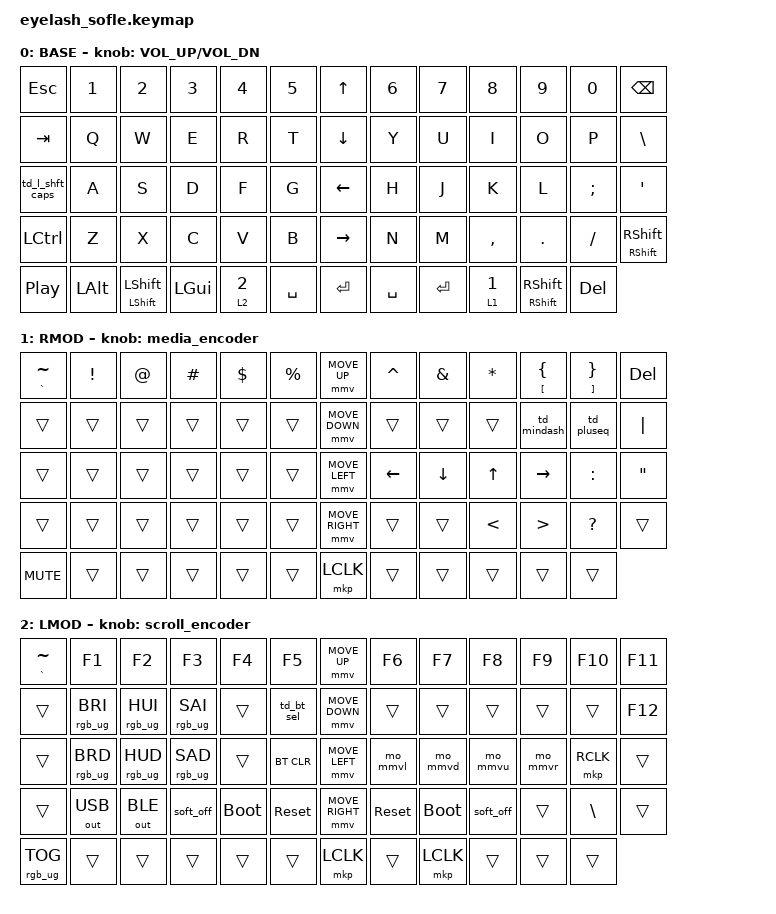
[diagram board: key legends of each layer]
#define ZMK_POINTING_DEFAULT_MOVE_VAL 300 // 600
#define ZMK_POINTING_DEFAULT_SCRL_VAL 35    // 10

#include <input/processors.dtsi>
#include <zephyr/dt-bindings/input/input-event-codes.h>
#include <behaviors.dtsi>
#include <dt-bindings/zmk/bt.h>
#include <dt-bindings/zmk/keys.h>
#include <dt-bindings/zmk/outputs.h>
#include <dt-bindings/zmk/pointing.h>
#include <dt-bindings/zmk/rgb.h>

/ {
    zip_scroll_scaler: zip_scroll_scaler {
        compatible = "zmk,input-processor-scaler";
        #input-processor-cells = <2>;
        type = <INPUT_EV_REL>;
        codes = <INPUT_REL_WHEEL INPUT_REL_HWHEEL>;
        track-remainders;
    };
};

&mmv_input_listener { input-processors = <&zip_xy_scaler 2 1>; };

&msc_input_listener { input-processors = <&zip_scroll_scaler 2 1>; };

&msc {
    acceleration-exponent = <0>;      // 0
    time-to-max-speed-ms = <0>;       // 300
    delay-ms = <0>;                   // 0
};

&mmv {
    time-to-max-speed-ms = <250>;
    acceleration-exponent = <1>;
};

/ {
    scroll_encoder: scroll_encoder {
        compatible = "zmk,behavior-sensor-rotate";
        #sensor-binding-cells = <0>;
        bindings = <&msc SCRL_DOWN>, <&msc SCRL_UP>;

        tap-ms = <30>;
    };

    media_encoder: media_encoder {
        compatible = "zmk,behavior-sensor-rotate";
        #sensor-binding-cells = <0>;
        bindings = <&kp C_NEXT>, <&kp C_PREV>;
    };

    macros {
        shift_MB3: shift_MB3 {
            compatible = "zmk,behavior-macro";
            #binding-cells = <0>;
            bindings =
                <&macro_press>,
                <&kp LEFT_SHIFT>,
                <&macro_press>,
                <&mkp MB3>,
                <&macro_pause_for_release>,
                <&macro_release>,
                <&mkp MB3 &kp LEFT_SHIFT>;

            label = "SHIFT_MB3";
        };
    };

    behaviors {
        sk_kp: sticky_keypress {
            compatible = "zmk,behavior-sticky-key";
            #binding-cells = <1>;
            release-after-ms = <4000>;
            quick-release;
            bindings = <&kp>;
        };
        sk_mod: sticky_layer_mod {
            compatible = "zmk,behavior-sticky-key";
            #binding-cells = <1>;
            release-after-ms = <4000>;
            quick-release;
            bindings = <&mo>;
        };
        lt_sticky: layer_tap_sticky {
            compatible = "zmk,behavior-hold-tap";
            #binding-cells = <2>;
            flavor = "balanced";
            tapping-term-ms = <200>;
            bindings = <&mo>, <&sk_mod>;
        };
        td_l_shft_caps: tap_dance_left_shift_caps {
            compatible = "zmk,behavior-tap-dance";
            #binding-cells = <0>;
            tapping-term-ms = <200>;
            bindings = <&kp LSHFT>, <&kp CAPS>;
        };
        td_l_brkt: tap_dance_left_brackets {
            compatible = "zmk,behavior-tap-dance";
            #binding-cells = <0>;
            tapping-term-ms = <200>;
            bindings = <&kp LBRC>, <&kp LBKT>;
        };
        td_r_brkt: tap_dance_right_brackets {
            compatible = "zmk,behavior-tap-dance";
            #binding-cells = <0>;
            tapping-term-ms = <200>;
            bindings =  <&kp RBRC>, <&kp RBKT>;
        };
        td_mindash: tap_dance_minus_dash {
            compatible = "zmk,behavior-tap-dance";
            #binding-cells = <0>;
            tapping-term-ms = <200>;
            bindings = <&kp MINUS>, <&kp UNDER>;
        };
        td_pluseq: tap_dance_plus_equals {
            compatible = "zmk,behavior-tap-dance";
            #binding-cells = <0>;
            tapping-term-ms = <200>;
            bindings = <&kp EQUAL>, <&kp PLUS>;
        };
        td_quot: tap_dance_quotes {
            compatible = "zmk,behavior-tap-dance";
            #binding-cells = <0>;
            tapping-term-ms = <200>;
            bindings = <&kp SQT>, <&kp DQT>;
        };
        td_bt_sel: tap_dance_bluetooth_select {
            compatible = "zmk,behavior-tap-dance";
            #binding-cells = <0>;
            tapping-term-ms = <200>;
            bindings = <&bt BT_SEL 0>, <&bt BT_SEL 1>, <&bt BT_SEL 2>, <&bt BT_SEL 3>, <&bt BT_SEL 4>;
        };
        ht_kp: hold_tap_keypress {
            compatible = "zmk,behavior-hold-tap";
            #binding-cells = <2>;
            flavor = "tap-preferred";
            tapping-term-ms = <200>;
            bindings = <&kp>, <&kp>;
        };
        ht_sk: hold_tap_sticky {
            compatible = "zmk,behavior-hold-tap";
            #binding-cells = <2>;
            flavor = "tap-preferred";
            tapping-term-ms = <200>;
            bindings = <&kp>, <&sk_kp>;
        };
        mo_mmvl: morph_mouse_move_left {
            compatible = "zmk,behavior-mod-morph";
            #binding-cells = <0>;
            bindings = <&mmv MOVE_LEFT>, <&mmv MOVE_X(-ZMK_POINTING_DEFAULT_MOVE_VAL * 3)>;
            mods = <(MOD_LSFT|MOD_RSFT)>;
        };
        mo_mmvr: morph_mouse_move_right {
            compatible = "zmk,behavior-mod-morph";
            #binding-cells = <0>;
            bindings = <&mmv MOVE_RIGHT>, <&mmv MOVE_X(ZMK_POINTING_DEFAULT_MOVE_VAL * 3)>;
            mods = <(MOD_LSFT|MOD_RSFT)>;
        };
        mo_mmvu: morph_mouse_move_up {
            compatible = "zmk,behavior-mod-morph";
            #binding-cells = <0>;
            bindings = <&mmv MOVE_UP>, <&mmv MOVE_Y(-ZMK_POINTING_DEFAULT_MOVE_VAL * 3)>;
            mods = <(MOD_LSFT|MOD_RSFT)>;
        };
        mo_mmvd: morph_mouse_move_down {
            compatible = "zmk,behavior-mod-morph";
            #binding-cells = <0>;
            bindings = <&mmv MOVE_DOWN>, <&mmv MOVE_Y(ZMK_POINTING_DEFAULT_MOVE_VAL * 3)>;
            mods = <(MOD_LSFT|MOD_RSFT)>;
        };
    };

    keymap {
        compatible = "zmk,keymap";

        layer_0 {
            bindings = <
&kp ESC             &kp N1        &kp N2              &kp N3        &kp N4          &kp N5     &kp UP_ARROW     &kp N6     &kp N7     &kp N8          &kp N9              &kp N0      &kp BACKSPACE
&kp TAB             &kp Q         &kp W               &kp E         &kp R           &kp T      &kp DOWN_ARROW   &kp Y      &kp U      &kp I           &kp O               &kp P       &kp BSLH
&td_l_shft_caps     &kp A         &kp S               &kp D         &kp F           &kp G      &kp LEFT_ARROW   &kp H      &kp J      &kp K           &kp L               &kp SEMI    &kp SQT
&kp LCTRL           &kp Z         &kp X               &kp C         &kp V           &kp B      &kp RIGHT_ARROW  &kp N      &kp M      &kp COMMA       &kp DOT             &kp FSLH    &ht_sk RSHFT RSHFT
&kp C_PLAY_PAUSE    &kp LEFT_ALT  &ht_sk LSHFT LSHFT  &kp LEFT_GUI  &lt_sticky 2 2  &kp SPACE  &kp ENTER        &kp SPACE  &kp ENTER  &lt_sticky 1 1  &ht_sk RSHFT RSHFT  &kp DELETE
            >;

            sensor-bindings = <&inc_dec_kp C_VOLUME_UP C_VOL_DN>;
            display-name = "BASE";
        };

        layer_1 {
            bindings = <
&ht_kp GRAVE TILDE  &kp EXCL     &kp AT       &kp HASH     &kp DOLLAR    &kp PERCENT   &mmv MOVE_UP     &kp CARET   &kp AMPS    &kp STAR   &ht_kp LBKT LBRC  &ht_kp RBKT RBRC  &kp DELETE
&trans              &trans       &trans       &trans       &trans        &trans        &mmv MOVE_DOWN   &trans      &trans      &trans     &td_mindash       &td_pluseq        &kp PIPE
&trans              &trans       &trans       &trans       &trans        &trans        &mmv MOVE_LEFT   &kp LEFT    &kp DOWN    &kp UP     &kp RIGHT         &kp COLON         &kp DQT
&trans              &trans       &trans       &trans       &trans        &trans        &mmv MOVE_RIGHT  &trans      &trans      &kp LT     &kp GT            &kp QMARK         &trans
&kp C_MUTE          &trans       &trans       &trans       &trans        &trans        &mkp LCLK        &trans      &trans      &trans     &trans            &trans
            >;

            sensor-bindings = <&media_encoder>;
            display-name = "RMOD";
        };

        layer_2 {
            bindings = <
&ht_kp GRAVE TILDE  &kp F1           &kp F2           &kp F3           &kp F4       &kp F5      &mmv MOVE_UP     &kp F6       &kp F7        &kp F8     &kp F9    &kp F10    &kp F11
&trans              &rgb_ug RGB_BRI  &rgb_ug RGB_HUI  &rgb_ug RGB_SAI  &trans       &td_bt_sel  &mmv MOVE_DOWN   &trans       &trans        &trans     &trans    &trans     &kp F12
&trans              &rgb_ug RGB_BRD  &rgb_ug RGB_HUD  &rgb_ug RGB_SAD  &trans       &bt BT_CLR  &mmv MOVE_LEFT   &mo_mmvl     &mo_mmvd      &mo_mmvu   &mo_mmvr  &mkp RCLK  &trans
&trans              &out OUT_USB     &out OUT_BLE     &soft_off        &bootloader  &sys_reset  &mmv MOVE_RIGHT  &sys_reset   &bootloader   &soft_off  &trans    &kp BSLH   &trans
&rgb_ug RGB_TOG     &trans           &trans           &trans           &trans       &trans      &mkp LCLK        &trans       &mkp LCLK     &trans     &trans    &trans
            >;

            sensor-bindings = <&scroll_encoder>;
            display-name = "LMOD";
        };

/*         layer_3 { */
/*             bindings = < */
/* &trans  &trans  &trans  &trans  &trans  &trans    &trans  &trans  &trans  &trans  &trans  &trans  &trans */
/* &trans  &trans  &trans  &trans  &trans  &trans    &trans  &trans  &trans  &trans  &trans  &trans  &trans */
/* &trans  &trans  &trans  &trans  &trans  &trans    &trans  &trans  &trans  &trans  &trans  &trans  &trans */
/* &trans  &trans  &trans  &trans  &trans  &trans    &trans  &trans  &trans  &trans  &trans  &trans  &trans */
/* &trans  &trans  &trans  &trans  &trans  &trans    &trans  &trans  &trans  &trans  &trans  &trans */
/*             >; */
/*         }; */
    };
};
